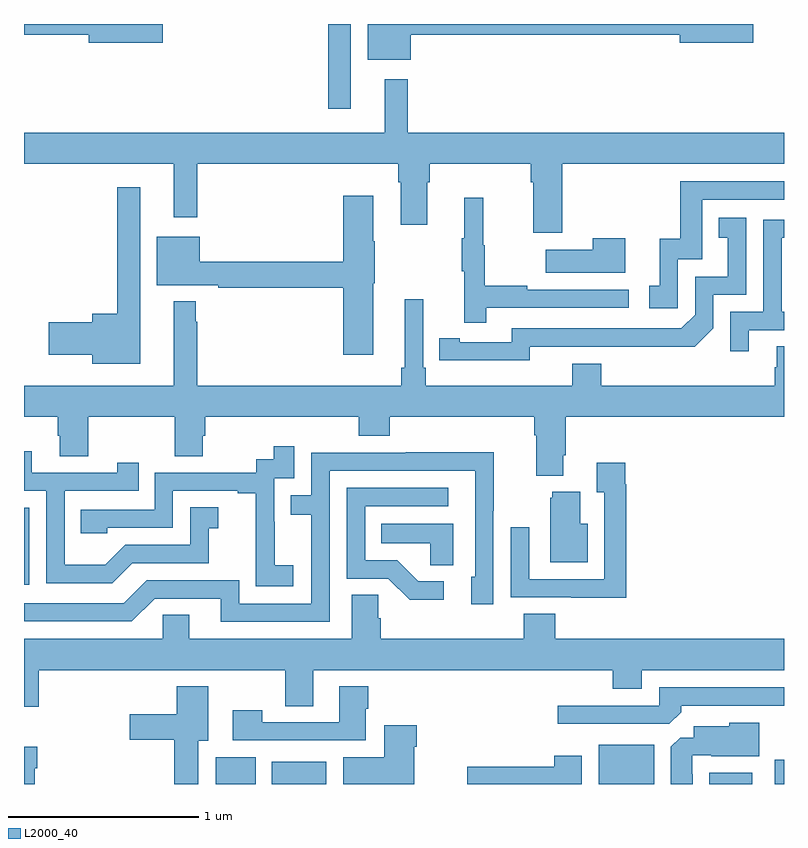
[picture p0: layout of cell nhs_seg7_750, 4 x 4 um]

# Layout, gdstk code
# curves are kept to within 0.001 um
import gdstk
lib = gdstk.Library(unit=1e-6, precision=1e-09)
def R(c, l, rs):  # rectangles x0, y0, x1, y1
    for r in rs: c.add(gdstk.rectangle(r[:2], r[2:], *l))
def P(c, l, *ps):  # polygons
    for p in ps: c.add(gdstk.Polygon(p, *l))
L2000_40 = (2000, 40)

nhs_seg7_750 = lib.new_cell('nhs_seg7_750')
R(nhs_seg7_750, L2000_40, [(168.008,1016,168.22,1016.14), (168.305,1016,168.592,1016.116), (170.024,1016,170.317,1016.206), (170.606,1016,170.833,1016.059), (170.952,1016,171,1016.128), (167,1017.048,167.028,1017.453), (168.6,1019.553,168.721,1020)])
P(nhs_seg7_750, L2000_40, [(167.731,1020),(167,1020),(167,1019.944),(167.342,1019.944),(167.342,1019.902),(167.731,1019.902)],
  [(169.036,1019.944),(170.45,1019.944),(170.45,1019.902),(170.839,1019.902),(170.839,1020),(168.809,1020),(168.809,1019.813),(169.036,1019.813)],
  [(169.021,1019.71),(168.899,1019.71),(168.899,1019.428),(167,1019.428),(167,1019.264),(167.789,1019.264),(167.789,1018.983),(167.911,1018.983),(167.911,1019.264),(168.971,1019.264),(168.971,1019.168),(168.983,1019.168),(168.983,1018.944),(169.123,1018.944),(169.123,1019.168),(169.136,1019.168),(169.136,1019.264),(169.667,1019.264),(169.667,1019.168),(169.679,1019.168),(169.679,1018.902),(169.832,1018.902),(169.832,1019.264),(171,1019.264),(171,1019.428),(169.021,1019.428)],
  [(170.442,1018.761),(170.571,1018.761),(170.571,1019.076),(171,1019.076),(171,1019.172),(170.455,1019.172),(170.455,1018.87),(170.345,1018.87),(170.345,1018.623),(170.292,1018.623),(170.292,1018.503),(170.442,1018.503)],
  [(167.611,1019.14),(167.49,1019.14),(167.49,1018.474),(167.36,1018.474),(167.36,1018.43),(167.13,1018.43),(167.13,1018.259),(167.36,1018.259),(167.36,1018.211),(167.611,1018.211)],
  [(168.838,1018.635),(168.846,1018.635),(168.846,1018.856),(168.838,1018.856),(168.838,1019.095),(168.68,1019.095),(168.68,1018.748),(167.926,1018.748),(167.926,1018.879),(167.699,1018.879),(167.699,1018.625),(168.022,1018.625),(168.022,1018.612),(168.68,1018.612),(168.68,1018.26),(168.838,1018.26)],
  [(169.433,1018.506),(170.182,1018.506),(170.182,1018.602),(169.649,1018.602),(169.649,1018.622),(169.426,1018.622),(169.426,1018.836),(169.418,1018.836),(169.418,1019.086),(169.316,1019.086),(169.316,1018.873),(169.305,1018.873),(169.305,1018.699),(169.316,1018.699),(169.316,1018.428),(169.433,1018.428)],
  [(169.662,1018.302),(170.53,1018.301),(170.628,1018.398),(170.628,1018.575),(170.802,1018.575),(170.802,1018.981),(170.656,1018.981),(170.656,1018.875),(170.705,1018.875),(170.705,1018.671),(170.532,1018.671),(170.532,1018.47),(170.46,1018.398),(169.566,1018.398),(169.566,1018.326),(169.294,1018.326),(169.294,1018.346),(169.186,1018.346),(169.186,1018.23),(169.662,1018.229)],
  [(170.815,1018.389),(171,1018.389),(171,1018.485),(170.988,1018.485),(170.988,1018.874),(171,1018.874),(171,1018.971),(170.892,1018.971),(170.892,1018.485),(170.718,1018.485),(170.718,1018.278),(170.815,1018.278)],
  [(170.164,1018.873),(169.994,1018.873),(169.994,1018.813),(169.745,1018.813),(169.745,1018.691),(170.164,1018.691)],
  [(169.837,1017.73),(169.85,1017.73),(169.85,1017.932),(171,1017.932),(171,1018.304),(170.963,1018.304),(170.963,1018.194),(170.951,1018.194),(170.951,1018.096),(170.039,1018.096),(170.039,1018.213),(169.886,1018.213),(169.886,1018.096),(169.115,1018.096),(169.115,1018.192),(169.101,1018.192),(169.101,1018.552),(169.004,1018.552),(169.004,1018.192),(168.985,1018.192),(168.985,1018.096),(167.911,1018.096),(167.911,1018.433),(167.904,1018.433),(167.904,1018.54),(167.789,1018.54),(167.789,1018.096),(167,1018.096),(167,1017.932),(167.177,1017.932),(167.177,1017.834),(167.189,1017.834),(167.189,1017.724),(167.337,1017.724),(167.337,1017.932),(167.794,1017.932),(167.794,1017.724),(167.941,1017.724),(167.941,1017.834),(167.954,1017.834),(167.954,1017.932),(168.761,1017.932),(168.761,1017.833),(168.926,1017.833),(168.926,1017.932),(169.685,1017.932),(169.685,1017.836),(169.697,1017.836),(169.697,1017.623),(169.837,1017.623)],
  [(168.418,1017.151),(168.32,1017.151),(168.32,1017.38),(168.318,1017.38),(168.318,1017.609),(168.423,1017.609),(168.423,1017.778),(168.315,1017.778),(168.315,1017.708),(168.222,1017.708),(168.222,1017.639),(167.688,1017.639),(167.688,1017.444),(167.299,1017.444),(167.299,1017.321),(167.439,1017.321),(167.439,1017.348),(167.784,1017.348),(167.784,1017.543),(168.125,1017.543),(168.125,1017.531),(168.221,1017.531),(168.221,1017.247),(168.22,1017.247),(168.22,1017.041),(168.418,1017.041)],
  [(167.569,1017.162),(167.973,1017.162),(167.973,1017.347),(168.022,1017.347),(168.022,1017.457),(167.874,1017.457),(167.874,1017.258),(167.532,1017.258),(167.428,1017.154),(167.214,1017.154),(167.214,1017.543),(167.603,1017.543),(167.603,1017.691),(167.492,1017.691),(167.492,1017.639),(167.041,1017.639),(167.041,1017.751),(167,1017.751),(167,1017.543),(167.118,1017.543),(167.118,1017.057),(167.464,1017.057)],
  [(168.609,1017.648),(169.374,1017.648),(169.374,1017.09),(169.355,1017.09),(169.355,1016.946),(169.47,1016.946),(169.47,1017.439),(169.473,1017.439),(169.473,1017.746),(169.009,1017.746),(169.009,1017.744),(168.513,1017.744),(168.513,1017.519),(168.403,1017.519),(168.403,1017.418),(168.513,1017.418),(168.513,1016.949),(168.132,1016.949),(168.132,1017.072),(167.646,1017.072),(167.526,1016.952),(167,1016.952),(167,1016.856),(167.568,1016.856),(167.688,1016.976),(168.035,1016.976),(168.035,1016.853),(168.609,1016.853)],
  [(170.171,1017.578),(170.164,1017.578),(170.164,1017.691),(170.015,1017.691),(170.015,1017.535),(170.055,1017.535),(170.055,1017.078),(169.659,1017.078),(169.659,1017.352),(169.563,1017.352),(169.563,1016.982),(169.879,1016.982),(169.879,1016.981),(170.171,1016.981)],
  [(169.21,1017.066),(169.075,1017.066),(168.964,1017.177),(168.795,1017.177),(168.795,1017.462),(169.234,1017.462),(169.234,1017.558),(168.699,1017.558),(168.699,1017.081),(168.918,1017.081),(169.031,1016.969),(169.21,1016.969)],
  [(169.966,1017.37),(169.927,1017.37),(169.927,1017.538),(169.781,1017.538),(169.781,1017.507),(169.769,1017.507),(169.769,1017.167),(169.966,1017.167)],
  [(169.258,1017.37),(168.88,1017.37),(168.88,1017.266),(169.137,1017.266),(169.137,1017.151),(169.258,1017.151)],
  [(167.078,1016.6),(168.376,1016.6),(168.376,1016.41),(168.523,1016.41),(168.523,1016.6),(170.099,1016.6),(170.099,1016.501),(170.251,1016.501),(170.251,1016.6),(171,1016.6),(171,1016.764),(169.796,1016.764),(169.796,1016.897),(169.631,1016.897),(169.631,1016.764),(168.878,1016.764),(168.878,1016.873),(168.864,1016.873),(168.864,1016.996),(168.725,1016.996),(168.725,1016.764),(167.869,1016.764),(167.869,1016.891),(167.73,1016.891),(167.73,1016.764),(167,1016.764),(167,1016.406),(167.078,1016.406)],
  [(168.799,1016.395),(168.812,1016.395),(168.812,1016.515),(168.659,1016.515),(168.659,1016.325),(168.255,1016.325),(168.255,1016.389),(168.099,1016.389),(168.099,1016.229),(168.799,1016.229)],
  [(167.917,1016.228),(167.971,1016.228),(167.971,1016.515),(167.804,1016.515),(167.804,1016.368),(167.556,1016.368),(167.556,1016.234),(167.792,1016.234),(167.792,1016),(167.917,1016)],
  [(170.459,1016.378),(170.459,1016.412),(171,1016.412),(171,1016.508),(170.343,1016.508),(170.343,1016.412),(169.809,1016.412),(169.809,1016.316),(170.397,1016.316)],
  [(170.521,1016.051),(170.517,1016.051),(170.517,1016.151),(170.617,1016.151),(170.617,1016.147),(170.869,1016.147),(170.869,1016.323),(170.712,1016.323),(170.712,1016.305),(170.525,1016.305),(170.525,1016.244),(170.454,1016.244),(170.405,1016.195),(170.405,1016),(170.521,1016)],
  [(169.054,1016.195),(169.067,1016.195),(169.067,1016.308),(168.896,1016.308),(168.896,1016.14),(168.68,1016.14),(168.68,1016),(169.054,1016)],
  [(167.056,1016.084),(167.069,1016.084),(167.069,1016.197),(167,1016.197),(167,1016),(167.056,1016)],
  [(169.936,1016.149),(169.79,1016.149),(169.79,1016.09),(169.332,1016.09),(169.332,1016),(169.936,1016)])

lib.write_gds('nhs_seg7_750.gds')
